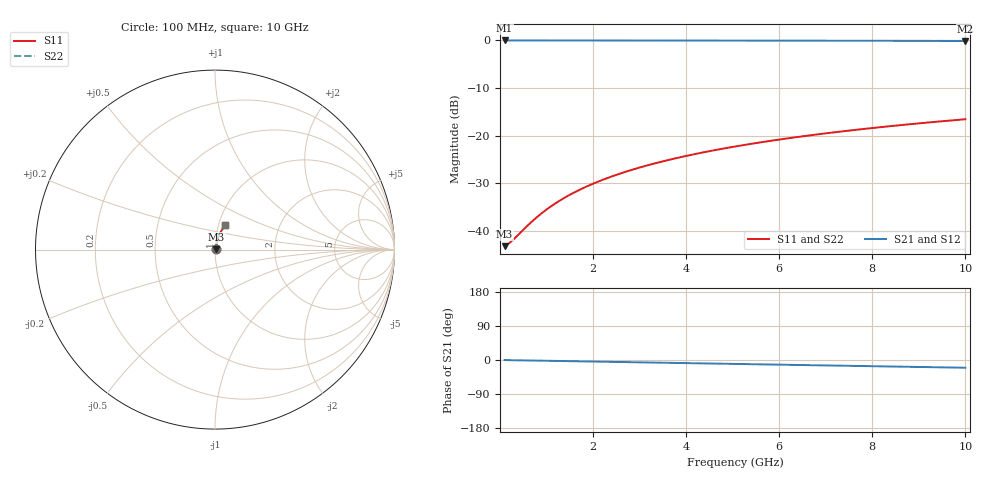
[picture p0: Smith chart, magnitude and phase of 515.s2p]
# Hz S RI R 50.00
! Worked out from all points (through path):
!   100 points, 100 MHz to 10 GHz, reference 50 ohm
!   highest |S21| = -0.06 dB at 100 MHz (marker M1); lowest = -0.2 dB at 10 GHz (marker M2)
!   group delay of S21, straight-line fit = 5.67 ps
!   lowest |S11| = -43.2 dB at 100 MHz (marker M3), VSWR 1.01, Z = 50.7 + j0.152 ohm
!   |S11| at or under -10 dB: start of sweep to end of sweep
!   |S22| runs from -43.2 to -16.6 dB; largest |S21 - S12| = 1e-12
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1e8  0.00674 0.0015  0.9933 -0.00356  0.9933 -0.00356  0.00674 0.0015
2e8  0.0068 0.003  0.9932 -0.00712  0.9932 -0.00712  0.0068 0.003
3e8  0.00686 0.0045  0.9931 -0.0107  0.9931 -0.0107  0.00686 0.0045
7e8  0.00716 0.0105  0.9927 -0.0249  0.9927 -0.0249  0.00716 0.0105
8e8  0.00726 0.012  0.9926 -0.0285  0.9926 -0.0285  0.00726 0.012
1e9  0.00748 0.015  0.9923 -0.0356  0.9923 -0.0356  0.00748 0.015
1.2e9  0.00774 0.018  0.9919 -0.0427  0.9919 -0.0427  0.00774 0.018
1.4e9  0.00804 0.0209  0.9915 -0.0498  0.9915 -0.0498  0.00804 0.0209
1.6e9  0.00839 0.0239  0.991 -0.0569  0.991 -0.0569  0.00839 0.0239
1.8e9  0.00877 0.0269  0.9905 -0.064  0.9905 -0.064  0.00877 0.0269
2.1e9  0.00942 0.0313  0.9896 -0.0746  0.9896 -0.0746  0.00942 0.0313
2.5e9  0.0104 0.0372  0.9882 -0.0888  0.9882 -0.0888  0.0104 0.0372
2.9e9  0.0116 0.0431  0.9865 -0.1029  0.9865 -0.1029  0.0116 0.0431
3.4e9  0.0133 0.0504  0.9841 -0.1204  0.9841 -0.1204  0.0133 0.0504
3.8e9  0.0149 0.0561  0.982 -0.1345  0.982 -0.1345  0.0149 0.0561
4.2e9  0.0166 0.0618  0.9796 -0.1484  0.9796 -0.1484  0.0166 0.0618
5.1e9  0.021 0.0745  0.9733 -0.1796  0.9733 -0.1796  0.021 0.0745
5.9e9  0.0257 0.0855  0.9668 -0.2071  0.9668 -0.2071  0.0257 0.0855
6.7e9  0.0309 0.0961  0.9594 -0.2342  0.9594 -0.2342  0.0309 0.0961
7.5e9  0.0367 0.1064  0.9511 -0.261  0.9511 -0.261  0.0367 0.1064
8.4e9  0.0439 0.1176  0.9408 -0.2907  0.9408 -0.2907  0.0439 0.1176
1e10  0.0584 0.1362  0.9199 -0.3422  0.9199 -0.3422  0.0584 0.1362
